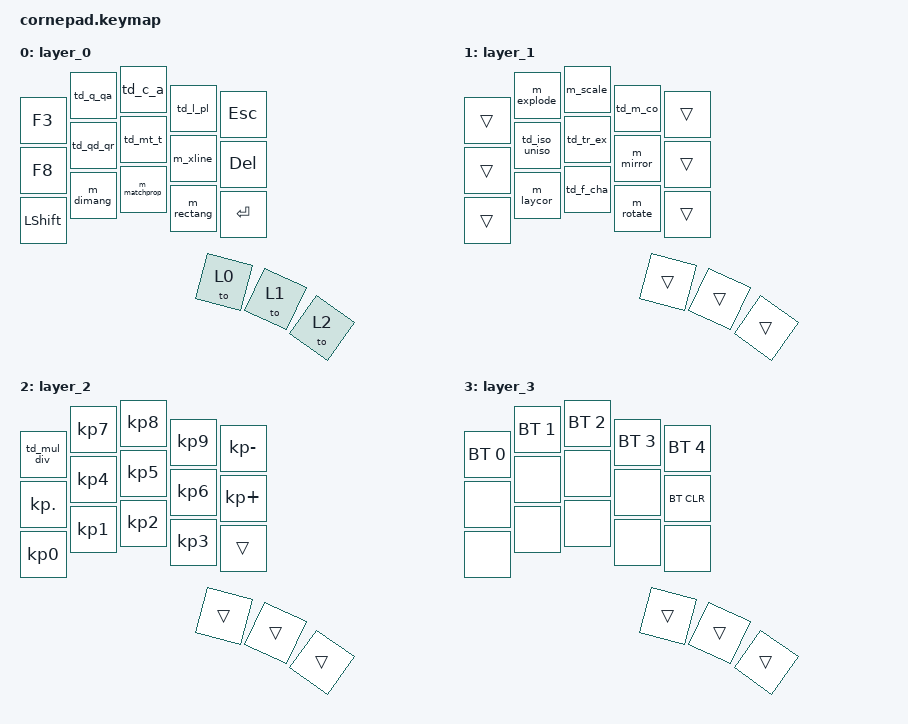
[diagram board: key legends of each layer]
#include <behaviors.dtsi>
#include <dt-bindings/zmk/keys.h>
#include <dt-bindings/zmk/bt.h>

// Includiamo il file esterno con tutte le macro e i tap dance
#include "macros.dtsi"

/ {
    // -------------------------------------------------------------
    // COMBOS (COMBINAZIONI DI TASTI)
    // -------------------------------------------------------------
    combos {
        compatible = "zmk,combos";

        // Combo Pollici per Layer 3
        combo_layer3 {
            timeout-ms = <80>;
            key-positions = <15 16 17>;
            bindings = <&mo 3>;
        };

        // Combo Tasto 0 (F3) + Tasto 10 (Shift) = Ctrl + Tab (Valida su Layer 0 e Layer 1)
        combo_ctrl_tab {
            timeout-ms = <150>;
            key-positions = <0 10>;
            bindings = <&kp LC(TAB)>;
            layers = <0 1>;
        };
    };

    // -------------------------------------------------------------
    // MAPPA DEI LIVELLI (KEYMAP)
    // -------------------------------------------------------------
    keymap {
        compatible = "zmk,keymap";

        // LIVELLO 0: Disegno Base e Quotature (con _matchprop sul tasto 12)
        layer_0 {
            bindings = <
                &kp F3     &td_q_qa    &td_c_a      &td_l_pl     &kp ESC
                &kp F8     &td_qd_qr   &td_mt_t     &m_xline     &kp DELETE
                &kp LSHFT  &m_dimang   &m_matchprop &m_rectang   &kp ENTER
                           &to 0       &to 1        &to 2
            >;
        };

        // LIVELLO 1: Modifica e Gestione Layer
        layer_1 {
            bindings = <
                &trans     &m_explode  &m_scale     &td_m_co     &trans
                &trans     &td_iso_uniso &td_tr_ex  &m_mirror    &trans
                &trans     &m_laycor   &td_f_cha    &m_rotate    &trans
                           &trans      &trans       &trans
            >;
        };

        // LIVELLO 2: Tastierino Numerico (* e / sul tasto 0)
        layer_2 {
            bindings = <
                &td_mul_div &kp KP_N7   &kp KP_N8    &kp KP_N9    &kp KP_MINUS
                &kp KP_DOT  &kp KP_N4   &kp KP_N5    &kp KP_N6    &kp KP_PLUS
                &kp KP_N0   &kp KP_N1   &kp KP_N2    &kp KP_N3    &trans
                            &trans      &trans       &trans
            >;
        };

        // LIVELLO 3: Gestione Bluetooth
        layer_3 {
            bindings = <
                &bt BT_SEL 0  &bt BT_SEL 1  &bt BT_SEL 2  &bt BT_SEL 3  &bt BT_SEL 4
                &none         &none         &none         &none         &bt BT_CLR
                &none         &none         &none         &none         &none
                              &trans        &trans        &trans
            >;
        };
    };
};
